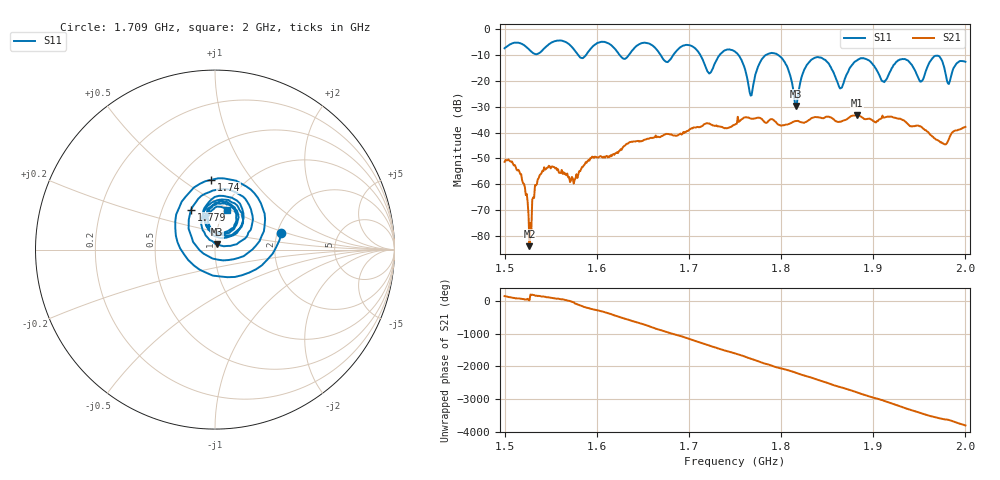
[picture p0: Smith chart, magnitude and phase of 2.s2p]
! NanoVNA-App by SYSJOINT et al v1.1.209 (+OD18)
! Date: 2026-01-21 14:22:50
! Start: 1,5GHz Stop: 2GHz Points: 501
! S-Parameter data: F S11 S21 S12 S22
# Hz S RI R 50
!  Frequency  S11_Real  S11_Imag  S21_Real  S21_Imag  S12_Real  S12_Imag  S22_Real  S22_Imag
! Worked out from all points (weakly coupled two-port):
!   501 points, 1.5 GHz to 2 GHz, reference 50 ohm
!   highest |S21| = -33.31 dB at 1.882 GHz (marker M1); lowest = -83.8 dB at 1.527 GHz (marker M2)
!   lowest |S11| = -29.7 dB at 1.816 GHz (marker M3), VSWR 1.07, Z = 51.2 + j3.1 ohm
!   |S11| at or under -10 dB: 1.712 GHz to 1.734 GHz (21.3 MHz wide, 1.24 % of centre); 1.754 GHz to 1.784 GHz (30.42 MHz wide, 1.72 % of centre); 1.796 GHz to end of sweep (the widest 3 of 6)
!   S12 and S22 are empty: the file has one direction only
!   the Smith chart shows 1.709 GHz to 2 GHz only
!   S11 on the Smith chart (normalised r, x): 1.709 GHz: 2.11, +0.46; 1.74 GHz: 0.71, +0.65; 1.779 GHz: 0.70, +0.33; 2 GHz: 1.02, +0.48
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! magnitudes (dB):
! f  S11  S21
! 1.5 GHz  -7.5  -51.3
! 1.517 GHz  -5.5  -56.0
! 1.527 GHz  -8.1  -83.8
! 1.542 GHz  -7.9  -54.9
! 1.584 GHz  -11.3  -53.3
! 1.606 GHz  -5.0  -49.6
! 1.667 GHz  -8.9  -41.7
! 1.709 GHz  -8.4  -37.8
! 1.722 GHz  -17.2  -36.5
! 1.74 GHz  -8.2  -38.2
! 1.75 GHz  -8.8  -36.9
! 1.767 GHz  -25.7  -34.6
! 1.779 GHz  -11.7  -34.7
! 1.802 GHz  -11.8  -37.2
! 1.816 GHz  -29.7  -35.5
! 1.834 GHz  -11.7  -34.3
! 1.865 GHz  -22.8  -35.8
! 1.882 GHz  -12.2  -33.3
! 1.917 GHz  -17.5  -33.9
! 1.977 GHz  -14.9  -44.5
! 1.982 GHz  -21.3  -42.6
! 2 GHz  -12.7  -37.8
